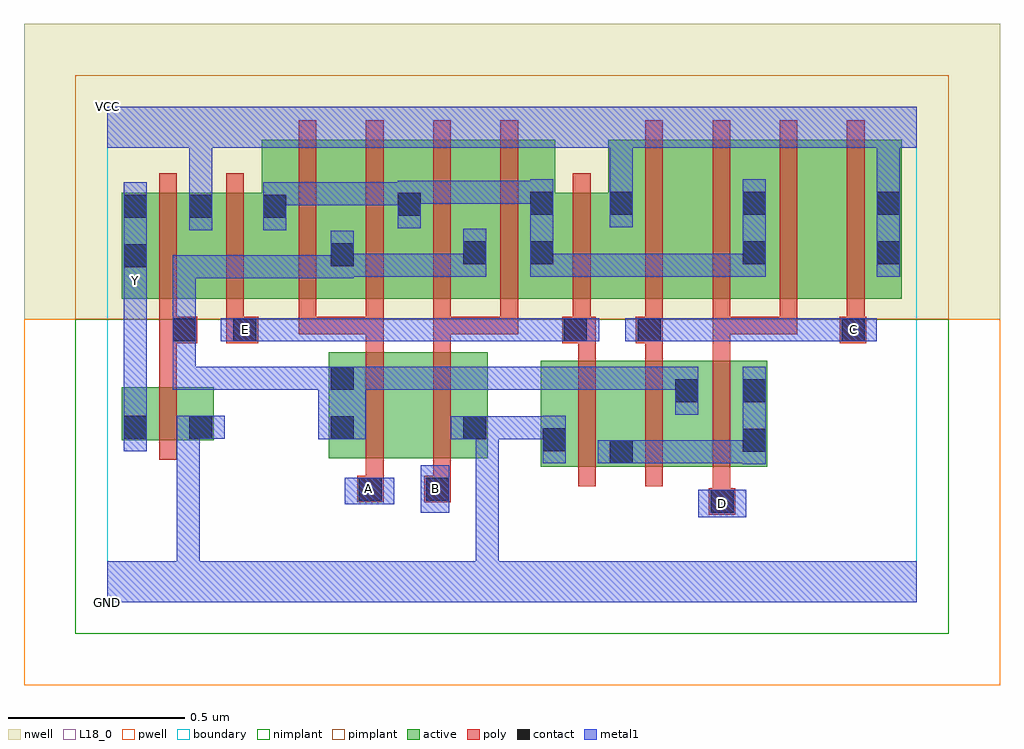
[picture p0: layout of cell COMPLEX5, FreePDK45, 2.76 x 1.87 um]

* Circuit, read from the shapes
.subckt COMPLEX5 A B C D E GND VCC Y
M1 GND n1 Y VSUBS nfet w=0.15u l=0.05u
M2 n2 A n1 VSUBS nfet w=0.3u l=0.05u
M3 GND B n2 VSUBS nfet w=0.3u l=0.05u
M4 n3 E GND VSUBS nfet w=0.3u l=0.05u
M5 n1 C n3 VSUBS nfet w=0.3u l=0.05u
M6 n3 D n1 VSUBS nfet w=0.3u l=0.05u
M7 VCC n1 Y n4 pfet w=0.3u l=0.05u
M8 n5 E VCC n4 pfet w=0.3u l=0.05u m=2
M9 n1 A n5 n4 pfet w=0.45u l=0.05u m=2
M10 n1 B n5 n4 pfet w=0.45u l=0.05u m=2
M11 n6 C VCC n4 pfet w=0.45u l=0.05u
M12 n5 D n6 n4 pfet w=0.45u l=0.05u
M13 n7 D n5 n4 pfet w=0.45u l=0.05u
M14 VCC C n7 n4 pfet w=0.45u l=0.05u
.ends

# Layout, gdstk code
import gdstk
lib = gdstk.Library(unit=1e-6, precision=1e-09)
def R(c, l, rs):  # rectangles x0, y0, x1, y1
    for r in rs: c.add(gdstk.rectangle(r[:2], r[2:], *l))
def A(c, l, x, y, w, h, nx, ny, dx, dy):  # array of equal rectangles
    R(c, l, [(x+i*dx, y+j*dy, x+i*dx+w, y+j*dy+h) for i in range(nx) for j in range(ny)])
active = (1, 0)
pwell = (2, 0)
nwell = (3, 0)
nimplant = (4, 0)
pimplant = (5, 0)
poly = (9, 0)
contact = (10, 0)
metal1 = (11, 0)
L18_0 = (18, 0)
boundary = (235, 0)

complex5 = lib.new_cell('COMPLEX5')
R(complex5, active, [(1.227,0.382,1.492,0.682), (1.227,0.382,1.302,0.497), (1.417,0.382,1.677,0.682), (1.417,0.382,1.492,0.547), (1.602,0.382,1.867,0.682), (0.627,0.407,0.852,0.707), (0.627,0.407,0.702,0.707), (0.852,0.407,1.077,0.707), (1.002,0.407,1.077,0.625), (1.792,0.407,1.867,0.682), (1.602,0.445,1.677,0.635), (0.042,0.457,0.302,0.607), (0.042,0.457,0.117,0.607), (0.227,0.457,0.302,0.532), (0.042,0.857,0.302,1.157), (0.042,0.857,0.117,1.157), (0.227,0.857,0.302,1.157), (0.227,0.857,0.512,1.157), (0.437,0.857,0.702,1.307), (0.627,0.857,0.892,1.307), (0.627,0.857,0.702,1.07), (0.817,0.857,0.892,1.2), (0.817,0.857,1.077,1.307), (1.002,0.857,1.267,1.307), (1.002,0.857,1.077,1.07), (1.192,0.857,1.267,1.2), (1.192,0.857,1.492,1.157), (1.417,0.857,1.642,1.307), (1.417,0.857,1.492,1.165), (1.642,0.857,1.867,1.307), (1.792,0.857,2.022,1.307), (1.792,0.857,1.867,1.2), (2.022,0.857,2.247,1.307), (2.172,0.857,2.247,1.307), (0.437,1.007,0.512,1.2)])
R(complex5, pwell, [(-0.235,-0.235,2.525,0.8)])
R(complex5, nwell, [(-0.235,0.8,2.525,1.635)])
R(complex5, nimplant, [(-0.09,-0.09,2.38,0.8)])
R(complex5, pimplant, [(-0.09,0.8,2.38,1.49)])
A(complex5, poly, 1.332, 0.327, 0.05, 0.41, 3, 1, 0.19, 0)
A(complex5, poly, 0.542, 0.757, 0.05, 0.095, 4, 1, 0.19, 0)
A(complex5, poly, 0.732, 0.757, 0.05, 0.05, 3, 1, 0.19, 0)
A(complex5, poly, 1.522, 0.757, 0.05, 0.095, 4, 1, 0.19, 0)
A(complex5, poly, 0.542, 0.802, 0.05, 0.56, 4, 1, 0.19, 0)
A(complex5, poly, 1.522, 0.802, 0.05, 0.56, 4, 1, 0.19, 0)
R(complex5, poly, [(1.702,0.247,1.777,0.322), (1.712,0.272,1.762,0.377), (0.707,0.282,0.782,0.357), (0.897,0.282,0.972,0.357), (0.732,0.307,0.782,0.402), (0.922,0.307,0.972,0.402), (0.732,0.352,0.782,0.762), (0.922,0.352,0.972,0.762), (0.147,0.402,0.197,0.662), (0.147,0.612,0.197,0.782), (1.332,0.687,1.382,0.782), (1.522,0.687,1.572,0.782), (1.712,0.687,1.762,0.807), (0.732,0.712,0.782,0.807), (0.922,0.712,0.972,0.807), (0.147,0.732,0.255,0.807), (0.337,0.732,0.427,0.807), (1.287,0.732,1.382,0.807), (1.495,0.732,1.572,0.807), (2.072,0.732,2.147,0.807), (0.147,0.757,0.197,0.852), (0.337,0.757,0.387,0.852), (0.542,0.757,0.782,0.807), (0.542,0.757,0.592,0.807), (0.732,0.757,0.782,0.807), (0.732,0.757,0.782,0.807), (0.922,0.757,1.162,0.807), (1.112,0.757,1.162,0.807), (1.112,0.757,1.162,0.807), (1.317,0.757,1.367,0.852), (1.712,0.757,1.952,0.807), (1.712,0.757,1.762,0.807), (1.712,0.757,1.762,0.807), (1.712,0.757,1.762,0.807), (1.902,0.757,1.952,0.807), (0.147,0.802,0.197,1.212), (0.337,0.802,0.387,1.212), (1.317,0.802,1.367,1.212)])
R(complex5, contact, [(1.707,0.252,1.772,0.317), (0.712,0.287,0.777,0.352), (0.902,0.287,0.967,0.352), (1.422,0.392,1.487,0.457), (1.797,0.425,1.862,0.49), (1.232,0.427,1.297,0.492), (0.632,0.46,0.697,0.525), (1.007,0.46,1.072,0.525), (0.047,0.462,0.112,0.527), (0.232,0.462,0.297,0.527), (1.607,0.565,1.672,0.63), (1.797,0.565,1.862,0.63), (0.632,0.6,0.697,0.665), (0.185,0.737,0.25,0.802), (0.357,0.737,0.422,0.802), (1.292,0.737,1.357,0.802), (1.5,0.737,1.565,0.802), (2.077,0.737,2.142,0.802), (0.047,0.947,0.112,1.012), (0.632,0.95,0.697,1.015), (1.007,0.955,1.072,1.02), (1.197,0.955,1.262,1.02), (1.797,0.955,1.862,1.02), (2.177,0.955,2.242,1.02), (0.047,1.087,0.112,1.152), (0.232,1.087,0.297,1.152), (0.442,1.087,0.507,1.152), (0.822,1.092,0.887,1.157), (1.197,1.095,1.262,1.16), (1.422,1.095,1.487,1.16), (1.797,1.095,1.862,1.16), (2.177,1.095,2.242,1.16)])
R(complex5, metal1, [(0,0,2.29,0.115), (0.197,0.05,0.262,0.115), (0.197,0.05,0.262,0.115), (0.197,0.05,0.262,0.115), (0.197,0.05,0.262,0.115), (0.197,0.05,0.262,0.115), (0.197,0.05,0.262,0.115), (0.197,0.05,0.262,0.527), (1.042,0.05,1.107,0.115), (1.042,0.05,1.107,0.115), (1.042,0.05,1.107,0.115), (1.042,0.05,1.107,0.115), (1.042,0.05,1.107,0.525), (1.672,0.24,1.807,0.317), (0.887,0.252,0.967,0.387), (0.672,0.277,0.812,0.352), (1.797,0.39,1.862,0.665), (1.232,0.392,1.297,0.527), (1.387,0.392,1.522,0.457), (1.457,0.392,1.522,0.457), (1.457,0.392,1.522,0.457), (1.457,0.392,1.725,0.457), (1.66,0.392,1.725,0.457), (1.66,0.392,1.737,0.457), (1.672,0.392,1.737,0.457), (1.672,0.392,1.862,0.457), (0.047,0.427,0.112,0.562), (0.597,0.46,0.732,0.665), (0.972,0.46,1.107,0.525), (1.042,0.46,1.107,0.525), (1.042,0.46,1.107,0.525), (1.042,0.46,1.107,0.525), (1.042,0.46,1.107,0.525), (1.042,0.46,1.297,0.525), (0.197,0.462,0.332,0.527), (0.197,0.462,0.262,0.527), (0.197,0.462,0.262,0.527), (0.047,0.497,0.112,0.907), (1.607,0.53,1.672,0.665), (0.185,0.6,0.25,0.665), (0.185,0.6,0.457,0.665), (0.185,0.6,0.25,0.837), (0.392,0.6,0.457,0.665), (0.392,0.6,0.457,0.665), (0.392,0.6,0.457,0.665), (0.392,0.6,0.595,0.665), (0.53,0.6,0.595,0.665), (0.53,0.6,0.662,0.665), (0.667,0.6,0.732,0.665), (0.667,0.6,0.732,0.665), (0.667,0.6,0.9,0.665), (0.835,0.6,0.9,0.665), (0.835,0.6,0.95,0.665), (0.885,0.6,0.95,0.665), (0.885,0.6,1.107,0.665), (1.042,0.6,1.107,0.665), (1.042,0.6,1.107,0.665), (1.042,0.6,1.107,0.665), (1.042,0.6,1.315,0.665), (1.25,0.6,1.315,0.665), (1.25,0.6,1.315,0.665), (1.25,0.6,1.315,0.665), (1.25,0.6,1.452,0.665), (1.387,0.6,1.452,0.665), (1.387,0.6,1.452,0.665), (1.387,0.6,1.452,0.665), (1.387,0.6,1.672,0.665), (0.185,0.702,0.25,0.837), (0.322,0.737,0.457,0.802), (0.392,0.737,0.457,0.802), (0.392,0.737,0.457,0.802), (0.392,0.737,0.595,0.802), (0.53,0.737,0.595,0.802), (0.53,0.737,0.732,0.802), (0.667,0.737,0.732,0.802), (0.667,0.737,0.732,0.802), (0.667,0.737,0.732,0.802), (0.667,0.737,0.9,0.802), (0.835,0.737,0.9,0.802), (0.835,0.737,0.9,0.802), (0.835,0.737,0.9,0.802), (0.835,0.737,1.107,0.802), (1.042,0.737,1.107,0.802), (1.042,0.737,1.107,0.802), (1.042,0.737,1.107,0.802), (1.042,0.737,1.245,0.802), (1.18,0.737,1.245,0.802), (1.18,0.737,1.322,0.802), (1.257,0.737,1.392,0.802), (1.465,0.737,1.6,0.802), (1.535,0.737,1.66,0.802), (1.595,0.737,1.66,0.802), (1.595,0.737,1.737,0.802), (1.672,0.737,1.737,0.802), (1.672,0.737,1.935,0.802), (1.87,0.737,2.105,0.802), (1.87,0.737,1.935,0.802), (1.87,0.737,1.935,0.802), (1.87,0.737,1.935,0.802), (2.04,0.737,2.107,0.802), (2.04,0.737,2.105,0.802), (2.042,0.737,2.177,0.802), (0.185,0.772,0.25,0.837), (0.185,0.772,0.25,0.837), (0.185,0.772,0.25,0.98), (0.047,0.842,0.112,0.977), (0.047,0.912,0.112,1.187), (0.047,0.912,0.112,0.977), (0.185,0.915,0.25,0.98), (0.185,0.915,0.4,0.98), (0.335,0.915,0.4,0.98), (0.335,0.915,0.4,0.98), (0.335,0.915,0.4,0.98), (0.335,0.915,0.595,0.98), (0.53,0.915,0.595,0.98), (0.53,0.915,0.697,0.98), (0.632,0.915,0.697,1.05), (0.632,0.92,0.75,0.985), (0.685,0.92,0.75,0.985), (0.685,0.92,0.9,0.985), (0.835,0.92,0.9,0.985), (0.835,0.92,0.9,0.985), (0.835,0.92,0.9,0.985), (0.835,0.92,1.072,0.985), (1.007,0.92,1.072,1.055), (1.197,0.92,1.262,1.195), (1.197,0.92,1.262,0.985), (1.197,0.92,1.262,0.985), (1.197,0.92,1.262,0.985), (1.197,0.92,1.262,0.985), (1.197,0.92,1.452,0.985), (1.387,0.92,1.452,0.985), (1.387,0.92,1.452,0.985), (1.387,0.92,1.452,0.985), (1.387,0.92,1.725,0.985), (1.66,0.92,1.725,0.985), (1.66,0.92,1.78,0.985), (1.715,0.92,1.78,0.985), (1.715,0.92,1.862,0.985), (1.797,0.92,1.862,1.195), (2.177,0.92,2.242,1.195), (0.232,1.052,0.297,1.187), (0.442,1.052,0.507,1.187), (0.822,1.057,0.887,1.192), (1.422,1.06,1.487,1.195), (0.232,1.122,0.297,1.35), (0.442,1.122,0.595,1.187), (0.53,1.122,0.595,1.187), (0.53,1.122,0.732,1.187), (0.667,1.122,0.732,1.187), (0.667,1.122,0.732,1.187), (0.667,1.122,0.732,1.187), (0.667,1.122,0.887,1.187), (0.822,1.127,0.887,1.192), (0.822,1.127,0.887,1.192), (0.822,1.127,1.107,1.192), (1.042,1.127,1.107,1.192), (1.042,1.127,1.107,1.192), (1.042,1.127,1.107,1.192), (1.042,1.127,1.262,1.192), (1.422,1.13,1.487,1.35), (2.177,1.13,2.242,1.35), (0,1.285,2.29,1.4), (0.232,1.285,0.297,1.35), (0.232,1.285,0.297,1.35)])
R(complex5, L18_0, [(0,0,2.29,0.115), (0.197,0.05,0.262,0.115), (0.197,0.05,0.262,0.115), (0.197,0.05,0.262,0.115), (0.197,0.05,0.262,0.115), (0.197,0.05,0.262,0.115), (0.197,0.05,0.262,0.115), (0.197,0.05,0.262,0.527), (1.042,0.05,1.107,0.115), (1.042,0.05,1.107,0.115), (1.042,0.05,1.107,0.115), (1.042,0.05,1.107,0.115), (1.042,0.05,1.107,0.525), (1.672,0.24,1.807,0.317), (1.707,0.247,1.772,0.312), (0.887,0.252,0.967,0.387), (0.672,0.277,0.812,0.352), (0.707,0.287,0.772,0.352), (0.897,0.287,0.962,0.352), (1.232,0.392,1.297,0.527), (0.047,0.427,0.112,0.562), (0.972,0.46,1.107,0.525), (1.042,0.46,1.107,0.525), (1.042,0.46,1.107,0.525), (1.042,0.46,1.107,0.525), (1.042,0.46,1.107,0.525), (1.042,0.46,1.297,0.525), (0.197,0.462,0.262,0.527), (0.197,0.462,0.262,0.527), (0.197,0.462,0.332,0.527), (0.047,0.497,0.112,0.907), (0.322,0.737,0.457,0.802), (0.357,0.737,0.422,0.802), (0.392,0.737,0.457,0.802), (0.392,0.737,0.457,0.802), (0.392,0.737,0.595,0.802), (0.53,0.737,0.595,0.802), (0.53,0.737,0.732,0.802), (0.667,0.737,0.732,0.802), (0.667,0.737,0.732,0.802), (0.667,0.737,0.732,0.802), (0.667,0.737,0.9,0.802), (0.835,0.737,0.9,0.802), (0.835,0.737,0.9,0.802), (0.835,0.737,0.9,0.802), (0.835,0.737,1.107,0.802), (1.042,0.737,1.107,0.802), (1.042,0.737,1.107,0.802), (1.042,0.737,1.107,0.802), (1.042,0.737,1.245,0.802), (1.18,0.737,1.245,0.802), (1.18,0.737,1.322,0.802), (1.257,0.737,1.392,0.802), (1.465,0.737,1.6,0.802), (1.535,0.737,1.66,0.802), (1.595,0.737,1.66,0.802), (1.595,0.737,1.737,0.802), (1.672,0.737,1.737,0.802), (1.672,0.737,1.935,0.802), (1.87,0.737,1.935,0.802), (1.87,0.737,1.935,0.802), (1.87,0.737,1.935,0.802), (1.87,0.737,2.105,0.802), (2.04,0.737,2.105,0.802), (2.04,0.737,2.107,0.802), (2.042,0.737,2.177,0.802), (2.077,0.737,2.142,0.802), (0.047,0.842,0.112,0.977), (0.047,0.877,0.112,0.942), (0.047,0.912,0.112,1.187), (0.047,0.912,0.112,0.977), (2.177,0.92,2.242,1.195), (0.232,1.052,0.297,1.187), (1.422,1.06,1.487,1.195), (0.232,1.122,0.297,1.35), (1.422,1.13,1.487,1.35), (2.177,1.13,2.242,1.35), (0,1.285,2.29,1.4), (0.232,1.285,0.297,1.35), (0.232,1.285,0.297,1.35)])
R(complex5, boundary, [(0,0,2.29,1.4)])
complex5.add(gdstk.Label('A', (0.74,0.32), layer=11, texttype=0))
complex5.add(gdstk.Label('B', (0.93,0.32), layer=11, texttype=0))
complex5.add(gdstk.Label('C', (2.11,0.77), layer=11, texttype=0))
complex5.add(gdstk.Label('D', (1.74,0.28), layer=11, texttype=0))
complex5.add(gdstk.Label('E', (0.39,0.77), layer=11, texttype=0))
complex5.add(gdstk.Label('Y', (0.08,0.91), layer=11, texttype=0))
complex5.add(gdstk.Label('VCC', (0,1.4), layer=11, texttype=0))
complex5.add(gdstk.Label('GND', (0,0), layer=11, texttype=0))

lib.write_gds('COMPLEX5.gds')
